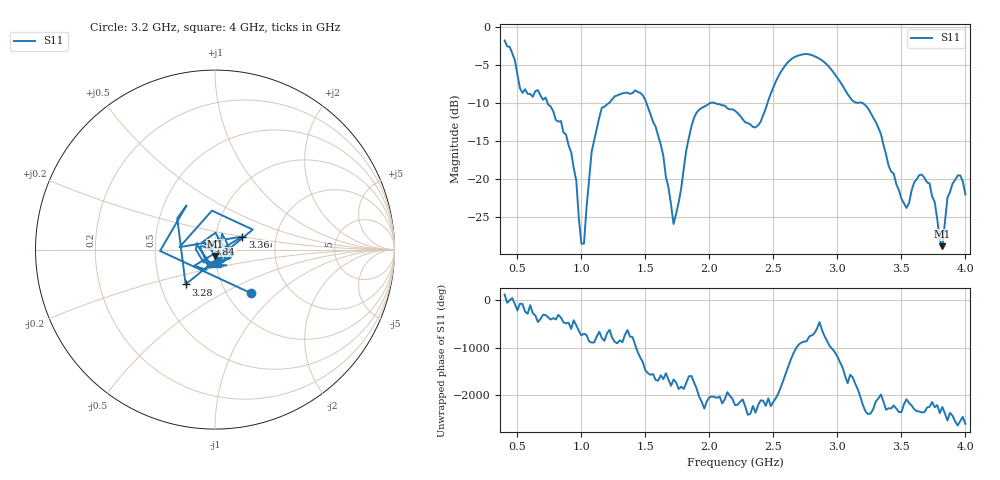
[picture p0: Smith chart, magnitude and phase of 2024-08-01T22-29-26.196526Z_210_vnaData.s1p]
!Created with skrf (http://scikit-rf.org).
# Hz S RI R 50.0
!freq ReS11 ImS11
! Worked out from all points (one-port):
!   181 points, 400 MHz to 4 GHz, reference 50 ohm
!   lowest |S11| = -28.8 dB at 3.82 GHz (marker M1), VSWR 1.08, Z = 50.1 - j3.62 ohm
!   |S11| at or under -10 dB: 736.4 MHz to 1.212 GHz (475.9 MHz wide, 48.8 % of centre); 1.509 GHz to 2.001 GHz (492.8 MHz wide, 28.1 % of centre); 3.2 GHz to end of sweep (the widest 3 of 4)
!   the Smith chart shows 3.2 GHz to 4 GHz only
!   S11 on the Smith chart (normalised r, x): 3.2 GHz: 1.29, -0.70; 3.28 GHz: 0.67, -0.28; 3.36 GHz: 1.34, +0.20; 3.84 GHz: 0.92, +0.06; 4 GHz: 1.02, -0.16
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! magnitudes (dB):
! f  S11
! 400 MHz  -1.7
! 540 MHz  -8.6
! 860 MHz  -13.9
! 920 MHz  -16.5
! 1 GHz  -28.5
! 1.02 GHz  -28.5
! 1.08 GHz  -16.4
! 1.14 GHz  -11.8
! 1.3 GHz  -8.8
! 1.48 GHz  -9.0
! 1.62 GHz  -15.4
! 1.72 GHz  -25.9
! 1.76 GHz  -23.1
! 1.9 GHz  -11.2
! 2.2 GHz  -11.0
! 2.38 GHz  -12.9
! 2.66 GHz  -4.0
! 3.1 GHz  -9.3
! 3.2 GHz  -10.0
! 3.28 GHz  -11.9
! 3.36 GHz  -15.5
! 3.56 GHz  -23.1
! 3.64 GHz  -19.5
! 3.72 GHz  -20.6
! 3.82 GHz  -28.8
! 3.84 GHz  -25.7
! 3.94 GHz  -19.5
! 4 GHz  -22.0
